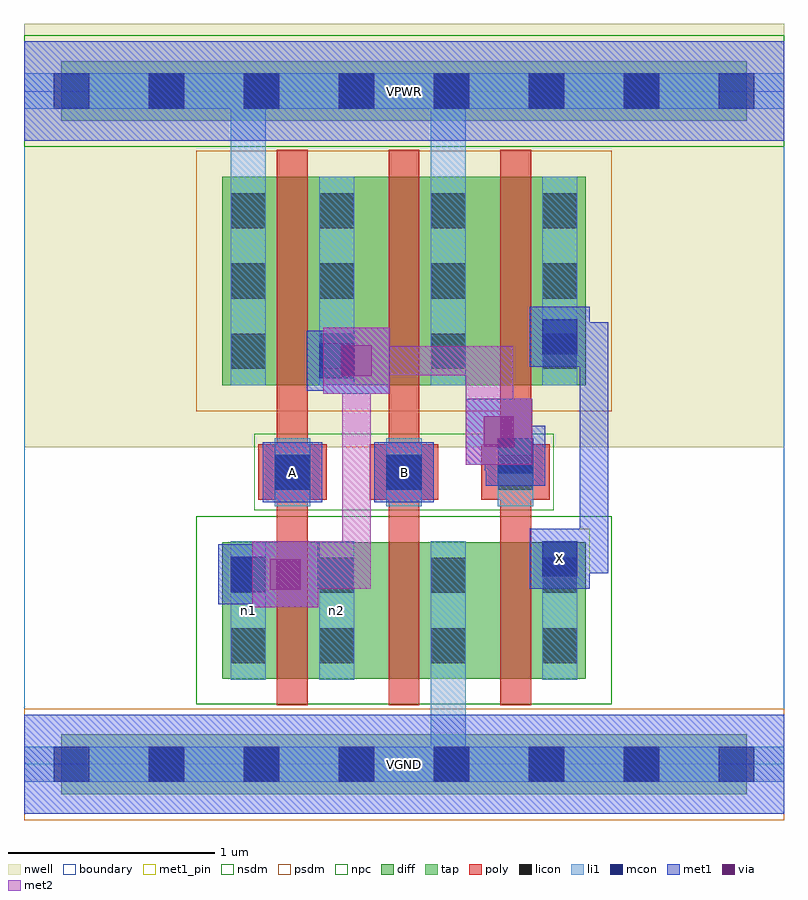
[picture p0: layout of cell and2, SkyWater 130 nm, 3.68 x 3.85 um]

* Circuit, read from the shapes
.subckt and2 A B VGND VPWR X n1 n2
XM1 n2 A n1 VGND sky130_fd_pr__nfet_01v8 w=0.66 l=0.15
XM2 VGND B n2 VGND sky130_fd_pr__nfet_01v8 w=0.66 l=0.15
XM3 X n1 VGND VGND sky130_fd_pr__nfet_01v8 w=0.66 l=0.15
XM4 n1 A VPWR VPWR sky130_fd_pr__pfet_01v8 w=1.01 l=0.15
XM5 VPWR B n1 VPWR sky130_fd_pr__pfet_01v8 w=1.01 l=0.15
XM6 X n1 VPWR VPWR sky130_fd_pr__pfet_01v8 w=1.01 l=0.15
.ends

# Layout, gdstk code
import gdstk
lib = gdstk.Library(unit=1e-6, precision=1e-09)
def R(c, l, rs):  # rectangles x0, y0, x1, y1
    for r in rs: c.add(gdstk.rectangle(r[:2], r[2:], *l))
def A(c, l, x, y, w, h, nx, ny, dx, dy):  # array of equal rectangles
    R(c, l, [(x+i*dx, y+j*dy, x+i*dx+w, y+j*dy+h) for i in range(nx) for j in range(ny)])
nwell = (64, 20)
diff = (65, 20)
tap = (65, 44)
poly = (66, 20)
licon = (66, 44)
li1 = (67, 20)
mcon = (67, 44)
met1_pin = (68, 16)
met1 = (68, 20)
via = (68, 44)
met2 = (69, 20)
nsdm = (93, 44)
psdm = (94, 20)
npc = (95, 20)
boundary = (235, 4)

and2 = lib.new_cell('and2')
R(and2, nwell, [(0,1.535,3.68,3.585)])
R(and2, diff, [(0.96,0.415,2.72,1.075), (0.96,1.835,2.72,2.845)])
R(and2, tap, [(0.18,-0.145,3.5,0.145), (0.18,3.115,3.5,3.405)])
A(and2, poly, 1.225, 0.285, 0.15, 2.69, 3, 1, 0.54, 0)
A(and2, poly, 1.135, 1.28, 0.33, 0.27, 3, 1, 0.54, 0)
A(and2, licon, 0.605, -0.085, 0.17, 0.17, 6, 2, 0.46, 3.26)
A(and2, licon, 1.43, 0.49, 0.17, 0.17, 3, 2, 0.54, 0.34)
A(and2, licon, 1.215, 1.33, 0.17, 0.17, 3, 1, 0.54, 0)
A(and2, licon, 1, 1.915, 0.17, 0.17, 1, 3, 0, 0.34)
A(and2, licon, 1.43, 1.915, 0.17, 0.17, 3, 3, 0.54, 0.34)
R(and2, licon, [(1,0.49,1.17,0.66), (1,0.83,1.17,1)])
A(and2, li1, 1.43, 0.41, 0.17, 0.67, 3, 1, 0.54, 0)
A(and2, li1, 1.215, 1.25, 0.17, 0.33, 3, 1, 0.54, 0)
A(and2, li1, 1.43, 1.835, 0.17, 1.01, 3, 1, 0.54, 0)
R(and2, li1, [(0,-0.085,3.68,0.085), (1.97,-0.085,2.14,1.08), (1,0.41,1.17,1.08), (1,1.835,1.17,2.845), (1,1.835,1.17,3.345), (1.97,1.835,2.14,3.345), (0,3.175,3.68,3.345)])
A(and2, mcon, 0.145, -0.085, 0.17, 0.17, 8, 2, 0.46, 3.26)
R(and2, mcon, [(1,0.835,1.17,1.005), (2.51,0.91,2.68,1.08), (1.215,1.33,1.385,1.5), (1.755,1.33,1.925,1.5), (2.295,1.41,2.465,1.58), (1.43,1.87,1.6,2.04), (2.51,1.985,2.68,2.155)])
R(and2, met1_pin, [(0,-0.24,3.68,0.24), (2.45,0.85,2.74,1.14), (1.155,1.27,1.445,1.56), (1.695,1.27,1.985,1.56), (0,3.02,3.68,3.5)])
R(and2, met1, [(0,-0.24,3.68,0.24), (1.105,0.76,1.425,1.08), (0.94,0.775,1.23,1.065), (1.015,0.85,1.335,0.99), (2.45,0.85,2.74,1.14), (2.525,0.925,2.83,1.065), (2.69,0.925,2.83,1.22), (2.69,1.08,2.83,2.14), (1.155,1.27,1.445,1.56), (1.695,1.27,1.985,1.56), (2.235,1.35,2.525,1.64), (2.23,1.425,2.45,1.565), (2.23,1.425,2.37,1.68), (2.14,1.45,2.46,1.77), (1.45,1.795,1.77,2.115), (1.37,1.81,1.66,2.1), (1.445,1.885,1.68,2.025), (2.45,1.925,2.74,2.215), (2.525,2,2.83,2.14), (0,3.02,3.68,3.5)])
R(and2, via, [(1.19,0.845,1.34,0.995), (2.225,1.535,2.375,1.685), (1.535,1.88,1.685,2.03)])
R(and2, met2, [(1.105,0.76,1.425,1.08), (1.195,0.85,1.68,0.99), (1.425,0.85,1.54,1.08), (1.54,0.85,1.68,2.025), (2.14,1.45,2.46,1.77), (2.23,1.54,2.37,2.025), (2.14,1.77,2.37,1.885), (1.45,1.795,1.77,2.115), (1.54,1.885,2.37,2.025)])
R(and2, nsdm, [(0.835,0.29,2.845,1.2), (0,2.99,3.68,3.53)])
R(and2, psdm, [(0,-0.27,3.68,0.27), (0.835,1.71,2.845,2.97)])
R(and2, npc, [(1.115,1.23,2.565,1.6)])
R(and2, boundary, [(0,0,3.68,3.26)])
and2.add(gdstk.Label('n1', (1.085,0.745), layer=67, texttype=5))
and2.add(gdstk.Label('n2', (1.515,0.745), layer=67, texttype=5))
and2.add(gdstk.Label('A', (1.3,1.415), layer=68, texttype=5))
and2.add(gdstk.Label('B', (1.84,1.415), layer=68, texttype=5))
and2.add(gdstk.Label('X', (2.595,0.995), layer=68, texttype=5))
and2.add(gdstk.Label('VPWR', (1.84,3.26), layer=68, texttype=5))
and2.add(gdstk.Label('VGND', (1.84,0), layer=68, texttype=5))
and2.add(gdstk.Label('A', (1.3,1.415), layer=68, texttype=16))
and2.add(gdstk.Label('B', (1.84,1.415), layer=68, texttype=16))
and2.add(gdstk.Label('X', (2.595,0.995), layer=68, texttype=16))
and2.add(gdstk.Label('VPWR', (1.84,3.26), layer=68, texttype=16))
and2.add(gdstk.Label('VGND', (1.84,0), layer=68, texttype=16))

lib.write_gds('and2.gds')
